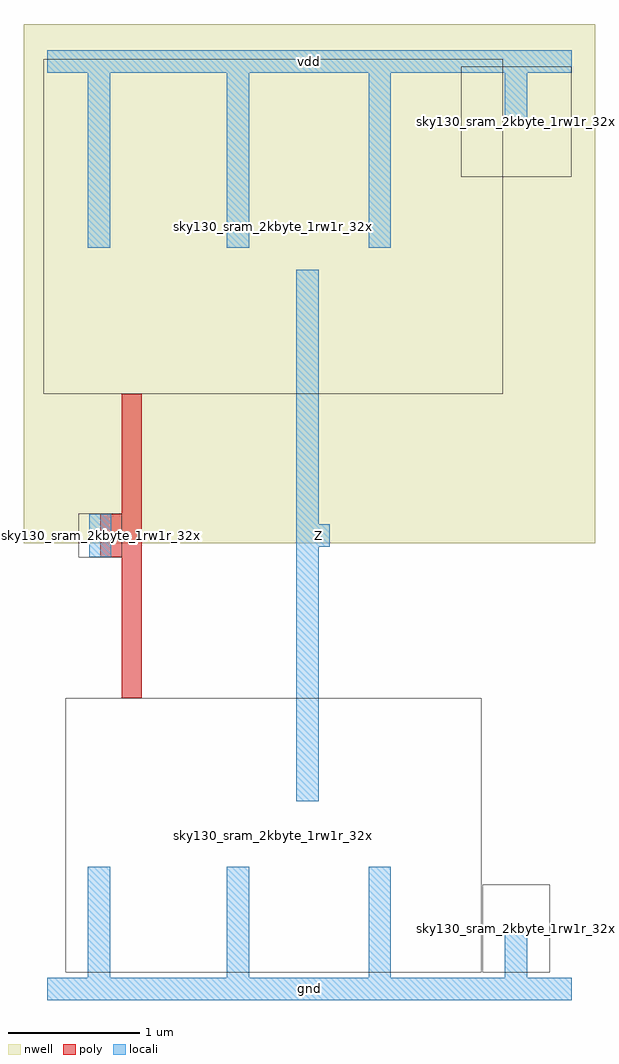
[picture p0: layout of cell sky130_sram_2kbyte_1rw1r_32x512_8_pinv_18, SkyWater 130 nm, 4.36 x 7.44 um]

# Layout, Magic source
magic
tech sky130A
magscale 1 2
<< nwell >>
rect -36 679 836 1471
<< poly >>
rect 114 724 144 907
rect 81 658 144 724
rect 114 443 144 658
<< locali >>
rect 0 1397 800 1431
rect 62 1130 96 1397
rect 274 1130 308 1397
rect 490 1130 524 1397
rect 698 1322 732 1397
rect 64 658 98 724
rect 380 708 414 1096
rect 380 674 431 708
rect 380 286 414 674
rect 62 17 96 186
rect 274 17 308 186
rect 490 17 524 186
rect 698 17 732 92
rect 0 -17 800 17
use sky130_sram_2kbyte_1rw1r_32x512_8_pmos_m5_w2_000_sli_dli_da_p  sky130_sram_2kbyte_1rw1r_32x512_8_pmos_m5_w2_000_sli_dli_da_p_0
transform 1 0 54 0 1 963
box -59 -56 641 454
use sky130_sram_2kbyte_1rw1r_32x512_8_nmos_m5_w1_680_sli_dli_da_p  sky130_sram_2kbyte_1rw1r_32x512_8_nmos_m5_w1_680_sli_dli_da_p_0
transform 1 0 54 0 1 51
box -26 -26 608 392
use sky130_sram_2kbyte_1rw1r_32x512_8_contact_16  sky130_sram_2kbyte_1rw1r_32x512_8_contact_16_0
transform 1 0 48 0 1 658
box 0 0 66 66
use sky130_sram_2kbyte_1rw1r_32x512_8_contact_29  sky130_sram_2kbyte_1rw1r_32x512_8_contact_29_0
transform 1 0 690 0 1 51
box -26 -26 76 108
use sky130_sram_2kbyte_1rw1r_32x512_8_contact_28  sky130_sram_2kbyte_1rw1r_32x512_8_contact_28_0
transform 1 0 690 0 1 1281
box -59 -43 109 125
<< labels >>
rlabel locali s 81 691 81 691 4 A
rlabel locali s 414 691 414 691 4 Z
rlabel locali s 400 0 400 0 4 gnd
rlabel locali s 400 1414 400 1414 4 vdd
<< properties >>
string FIXED_BBOX 0 0 800 1414
<< end >>
